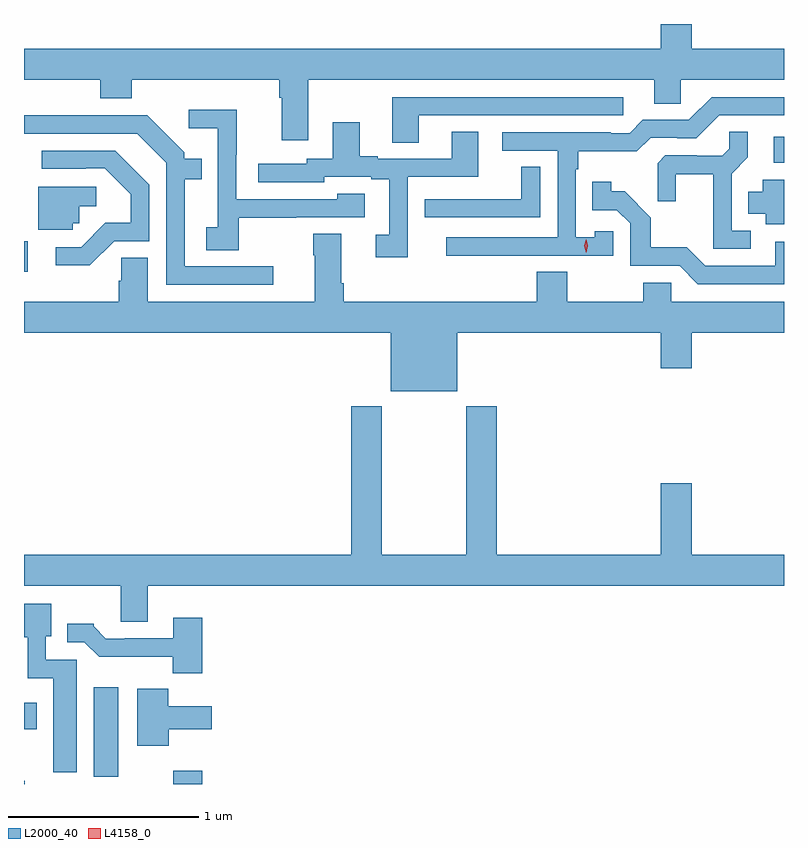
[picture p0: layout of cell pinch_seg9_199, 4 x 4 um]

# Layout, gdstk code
import gdstk
lib = gdstk.Library(unit=1e-6, precision=1e-09)
def R(c, l, rs):  # rectangles x0, y0, x1, y1
    for r in rs: c.add(gdstk.rectangle(r[:2], r[2:], *l))
def P(c, l, *ps):  # polygons
    for p in ps: c.add(gdstk.Polygon(p, *l))
L2000_40 = (2000, 40)
L4158_0 = (4158, 0)

pinch_seg9_199 = lib.new_cell('pinch_seg9_199')
R(pinch_seg9_199, L2000_40, [(521.297,1232.673,521.3,1232.689), (522.083,1232.673,522.236,1232.743), (521.663,1232.712,521.794,1233.181), (521.297,1232.96,521.365,1233.1), (521.297,1235.37,521.317,1235.53), (525.243,1235.943,525.297,1236.079)])
P(pinch_seg9_199, L2000_40, [(524.648,1236.544),(521.297,1236.544),(521.297,1236.38),(521.699,1236.38),(521.699,1236.281),(521.864,1236.281),(521.864,1236.38),(522.641,1236.38),(522.641,1236.284),(522.653,1236.284),(522.653,1236.06),(522.793,1236.06),(522.793,1236.38),(524.615,1236.38),(524.615,1236.253),(524.754,1236.253),(524.754,1236.38),(525.297,1236.38),(525.297,1236.544),(524.812,1236.544),(524.812,1236.673),(524.648,1236.673)],
  [(523.913,1235.454),(524.397,1235.454),(524.397,1235.583),(524.301,1235.583),(524.301,1235.551),(524.202,1235.551),(524.202,1235.909),(524.215,1235.909),(524.215,1236.002),(524.522,1236.002),(524.595,1236.075),(524.734,1236.075),(524.734,1236.072),(524.835,1236.072),(524.955,1236.192),(525.297,1236.192),(525.297,1236.288),(524.916,1236.288),(524.796,1236.168),(524.553,1236.168),(524.484,1236.099),(524.384,1236.099),(524.384,1236.102),(523.815,1236.102),(523.815,1236.006),(524.106,1236.006),(524.106,1235.55),(523.52,1235.55),(523.52,1235.452),(523.913,1235.452)],
  [(523.375,1236.192),(524.452,1236.192),(524.452,1236.288),(523.235,1236.288),(523.235,1236.049),(523.375,1236.049)],
  [(522.427,1235.653),(522.731,1235.653),(522.731,1235.655),(523.09,1235.655),(523.09,1235.779),(522.945,1235.779),(522.945,1235.751),(522.414,1235.751),(522.414,1235.984),(522.417,1235.984),(522.417,1236.223),(522.165,1236.223),(522.165,1236.125),(522.318,1236.125),(522.318,1235.604),(522.255,1235.604),(522.255,1235.482),(522.427,1235.482)],
  [(522.61,1235.397),(522.142,1235.397),(522.142,1235.856),(522.233,1235.856),(522.233,1235.965),(522.141,1235.965),(522.141,1235.997),(521.946,1236.192),(521.615,1236.192),(521.615,1236.194),(521.297,1236.194),(521.297,1236.096),(521.892,1236.096),(522.045,1235.943),(522.045,1235.301),(522.61,1235.301)],
  [(523.317,1235.868),(523.687,1235.868),(523.687,1236.107),(523.547,1236.107),(523.547,1235.964),(523.159,1235.964),(523.159,1235.977),(523.063,1235.977),(523.063,1236.157),(522.923,1236.157),(522.923,1235.964),(522.786,1235.964),(522.786,1235.937),(522.531,1235.937),(522.531,1235.841),(522.876,1235.841),(522.876,1235.868),(523.124,1235.868),(523.124,1235.856),(523.22,1235.856),(523.22,1235.565),(523.149,1235.565),(523.149,1235.445),(523.317,1235.445)],
  [(525.121,1235.586),(525.021,1235.586),(525.021,1235.885),(525.107,1235.971),(525.107,1236.107),(525.009,1236.107),(525.009,1236.016),(524.972,1235.979),(524.838,1235.979),(524.838,1235.982),(524.673,1235.982),(524.632,1235.941),(524.632,1235.739),(524.726,1235.739),(524.726,1235.882),(524.924,1235.882),(524.924,1235.49),(525.121,1235.49)],
  [(521.772,1235.529),(521.955,1235.529),(521.955,1235.827),(521.776,1236.006),(521.391,1236.006),(521.391,1235.91),(521.621,1235.91),(521.621,1235.913),(521.721,1235.913),(521.858,1235.776),(521.858,1235.626),(521.725,1235.626),(521.598,1235.499),(521.463,1235.499),(521.463,1235.402),(521.644,1235.402)],
  [(524.013,1235.921),(523.915,1235.921),(523.915,1235.751),(523.519,1235.751),(523.519,1235.75),(523.407,1235.75),(523.407,1235.655),(524.013,1235.655)],
  [(525.297,1235.854),(525.185,1235.854),(525.185,1235.791),(525.11,1235.791),(525.11,1235.675),(525.2,1235.675),(525.2,1235.618),(525.297,1235.618)],
  [(525.297,1235.526),(525.251,1235.526),(525.251,1235.4),(524.883,1235.4),(524.785,1235.499),(524.596,1235.499),(524.596,1235.654),(524.458,1235.792),(524.388,1235.792),(524.388,1235.842),(524.287,1235.842),(524.287,1235.694),(524.418,1235.694),(524.487,1235.625),(524.487,1235.4),(524.748,1235.4),(524.844,1235.304),(525.297,1235.304)],
  [(521.553,1235.625),(521.589,1235.625),(521.589,1235.714),(521.677,1235.714),(521.677,1235.817),(521.372,1235.817),(521.372,1235.589),(521.553,1235.589)],
  [(523.576,1235.048),(524.648,1235.048),(524.648,1234.86),(524.812,1234.86),(524.812,1235.048),(525.297,1235.048),(525.297,1235.212),(524.703,1235.212),(524.703,1235.31),(524.557,1235.31),(524.557,1235.212),(524.157,1235.212),(524.157,1235.369),(523.996,1235.369),(523.996,1235.212),(522.98,1235.212),(522.98,1235.308),(522.967,1235.308),(522.967,1235.569),(522.82,1235.569),(522.82,1235.456),(522.827,1235.456),(522.827,1235.212),(521.947,1235.212),(521.947,1235.444),(521.809,1235.444),(521.809,1235.322),(521.795,1235.322),(521.795,1235.212),(521.297,1235.212),(521.297,1235.048),(523.226,1235.048),(523.226,1234.739),(523.576,1234.739)],
  [(521.947,1233.716),(525.297,1233.716),(525.297,1233.88),(524.812,1233.88),(524.812,1234.255),(524.648,1234.255),(524.648,1233.88),(523.784,1233.88),(523.784,1234.66),(523.624,1234.66),(523.624,1233.88),(523.179,1233.88),(523.179,1234.66),(523.019,1234.66),(523.019,1233.88),(521.297,1233.88),(521.297,1233.716),(521.807,1233.716),(521.807,1233.526),(521.947,1233.526)],
  [(521.575,1233.327),(521.412,1233.327),(521.412,1233.45),(521.44,1233.45),(521.44,1233.622),(521.297,1233.622),(521.297,1233.446),(521.316,1233.446),(521.316,1233.23),(521.45,1233.23),(521.45,1232.736),(521.575,1232.736)],
  [(522.236,1233.547),(522.083,1233.547),(522.083,1233.441),(521.827,1233.441),(521.827,1233.438),(521.728,1233.438),(521.664,1233.502),(521.664,1233.517),(521.525,1233.517),(521.525,1233.42),(521.613,1233.42),(521.692,1233.342),(522.081,1233.342),(522.081,1233.257),(522.236,1233.257)],
  [(522.058,1232.96),(522.286,1232.96),(522.286,1233.082),(522.056,1233.082),(522.056,1233.175),(521.894,1233.175),(521.894,1232.874),(522.058,1232.874)])
P(pinch_seg9_199, L4158_0, [(524.255,1235.469),(524.255,1235.47),(524.245,1235.505),(524.255,1235.541),(524.255,1235.541),(524.255,1235.541),(524.265,1235.505),(524.255,1235.47)])

lib.write_gds('pinch_seg9_199.gds')
